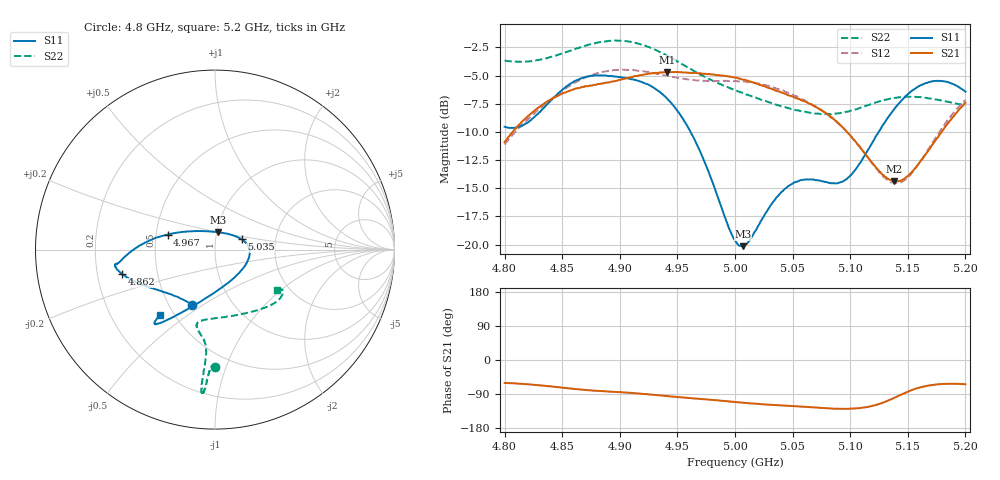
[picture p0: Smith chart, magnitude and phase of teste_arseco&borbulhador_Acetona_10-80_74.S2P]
! Network Analyzer HP8722D
! Hewlett-Packard
! Data name: Linha & Wilkinson
! Saver's name: Rodrigo Anjos
! Comments: Teste da utilização de aquisição
! continua pelo VNA HP8722D
! Time and date: 17/4/2025 14:58
!  Frequency  S11  S21  S12  S22
# HZ  S  MA R 50
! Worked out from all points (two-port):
!   401 points, 4.8 GHz to 5.2 GHz, reference 50 ohm
!   highest |S21| = -4.67 dB at 4.941 GHz (marker M1); lowest = -14.4 dB at 5.138 GHz (marker M2)
!   |S21| within 3 dB of the highest: 4.832 GHz to 5.068 GHz (236.4 MHz wide, 4.78 % of centre); 5.197796 GHz to end of sweep
!   lowest |S11| = -20.1 dB at 5.007 GHz (marker M3), VSWR 1.22, Z = 50.8 + j9.93 ohm
!   |S11| at or under -10 dB: 4.961 GHz to 5.125 GHz (163.3 MHz wide, 3.24 % of centre)
!   |S22| runs from -8.4 to -1.9 dB; largest |S21 - S12| = 0.88
!   S11 on the Smith chart (normalised r, x): 4.8 GHz: 0.65, -0.45; 4.862 GHz: 0.31, -0.12; 4.967 GHz: 0.57, +0.10; 5.035 GHz: 1.34, +0.16; 5.2 GHz: 0.42, -0.40
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4.8e9  0.3332 -112.9  0.2847 -60.6  0.2781 -174.9  0.6562 -89.8
4.819e9  0.3459 -132.8  0.3667 -63.7  0.3549 -173.3  0.65 -91.4
4.862e9  0.5351 -165.2  0.4935 -76.8  0.5266 -176.4  0.7419 -93.6
4.867e9  0.5482 -167.2  0.5004 -78.2  0.5415 -177.3  0.7555 -93.9
4.898e9  0.5553 -171.7  0.5343 -84.4  0.5948 176.1  0.8033 -95.0
4.934e9  0.479 -177.8  0.5794 -93.4  0.5727 172.1  0.7187 -95.6
4.941e9  0.4447 179.2  0.5842 -95.1  0.5626 172.1  0.6899 -95.3
4.953e9  0.373 172.6  0.5825 -98.5  0.5463 172.9  0.6375 -94.9
4.967e9  0.2775 162.5  0.5776 -101.9  0.5345 174.1  0.5786 -94.8
5e9  0.1044 103.8  0.5511 -110.9  0.5338 176.4  0.4844 -99.1
5.007e9  0.09831 79.6  0.5395 -112.6  0.5291 176.3  0.4691 -100.6
5.035e9  0.1592 21.6  0.483 -118.9  0.4953 175.0  0.4188 -103.4
5.05e9  0.1868 6.0  0.4541 -121.6  0.463 174.3  0.4002 -99.6
5.067e9  0.1942 -12.3  0.4174 -124.9  0.4182 173.9  0.3839 -91.1
5.087e9  0.1869 -44.1  0.3553 -128.7  0.3542 173.7  0.3813 -75.9
5.098e9  0.1978 -67.0  0.3135 -128.8  0.312 174.8  0.3893 -66.8
5.134e9  0.3735 -115.7  0.1942 -105.6  0.1911 -158.5  0.4438 -42.9
5.138e9  0.3984 -118.0  0.1906 -100.0  0.1877 -152.1  0.447 -41.1
5.151e9  0.4693 -123.9  0.2036 -82.3  0.2011 -131.8  0.4531 -36.2
5.17e9  0.5289 -128.3  0.2706 -66.6  0.2765 -112.7  0.445 -31.8
5.184e9  0.527 -129.6  0.3416 -62.9  0.3538 -107.1  0.4314 -30.8
5.2e9  0.4771 -130.1  0.4261 -64.0  0.4383 -106.1  0.4148 -33.1
